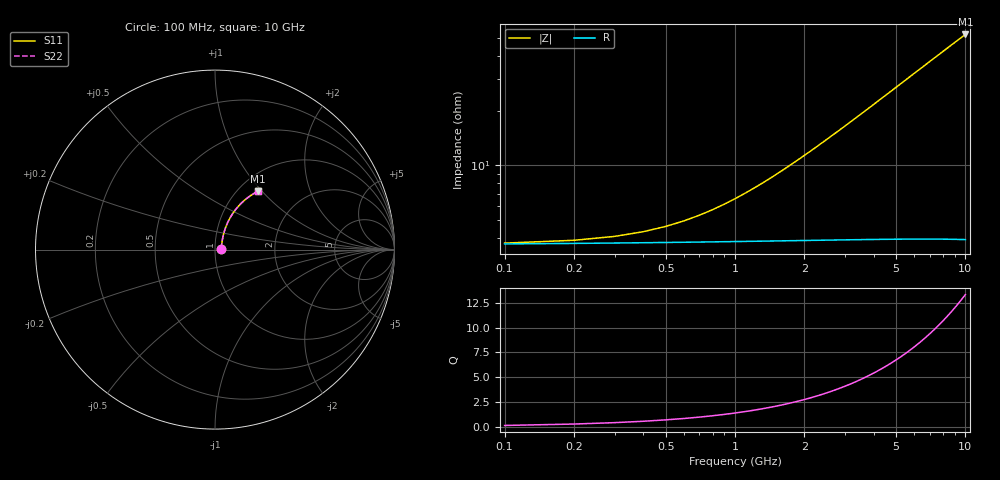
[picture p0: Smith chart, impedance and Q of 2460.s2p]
# Hz S RI R 50.00
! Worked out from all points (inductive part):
!   100 points, 100 MHz to 10 GHz, reference 50 ohm
!   read as one part in series: L = 848 pH near 2.2 GHz
!   highest Q = 13.3 at 10 GHz (marker M1), where L = 831 pH
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1e8  0.0358 0.00429  0.9642 -0.00564  0.9642 -0.00564  0.0358 0.00429
2e8  0.0361 0.00858  0.9639 -0.0113  0.9639 -0.0113  0.0361 0.00858
3e8  0.0364 0.0129  0.9636 -0.0169  0.9636 -0.0169  0.0364 0.0129
4e8  0.0367 0.0171  0.9633 -0.0225  0.9633 -0.0225  0.0367 0.0171
6e8  0.0374 0.0257  0.9626 -0.0338  0.9626 -0.0338  0.0374 0.0257
1.2e9  0.0405 0.0512  0.9593 -0.0673  0.9593 -0.0673  0.0405 0.0512
1.5e9  0.0427 0.0638  0.9571 -0.0839  0.9571 -0.0839  0.0427 0.0638
1.8e9  0.0453 0.0763  0.9544 -0.1005  0.9544 -0.1005  0.0453 0.0763
2.1e9  0.0483 0.0886  0.9512 -0.1169  0.9512 -0.1169  0.0483 0.0886
2.5e9  0.053 0.1049  0.9464 -0.1386  0.9464 -0.1386  0.053 0.1049
2.9e9  0.0583 0.1209  0.9409 -0.16  0.9409 -0.16  0.0583 0.1209
3.4e9  0.066 0.1404  0.9329 -0.1862  0.9329 -0.1862  0.066 0.1404
3.8e9  0.0729 0.1556  0.9258 -0.2068  0.9258 -0.2068  0.0729 0.1556
4.2e9  0.0804 0.1704  0.9179 -0.227  0.9179 -0.227  0.0804 0.1704
4.6e9  0.0885 0.1847  0.9095 -0.2467  0.9095 -0.2467  0.0885 0.1847
5.1e9  0.0995 0.202  0.8981 -0.2707  0.8981 -0.2707  0.0995 0.202
5.9e9  0.1187 0.2279  0.878 -0.3075  0.878 -0.3075  0.1187 0.2279
6.7e9  0.1397 0.2516  0.856 -0.3421  0.856 -0.3421  0.1397 0.2516
7.5e9  0.1623 0.2731  0.8323 -0.3745  0.8323 -0.3745  0.1623 0.2731
8.4e9  0.1892 0.2943  0.8041 -0.4081  0.8041 -0.4081  0.1892 0.2943
9.2e9  0.2141 0.3107  0.7778 -0.4355  0.7778 -0.4355  0.2141 0.3107
1e10  0.2397 0.3247  0.7508 -0.4605  0.7508 -0.4605  0.2397 0.3247
